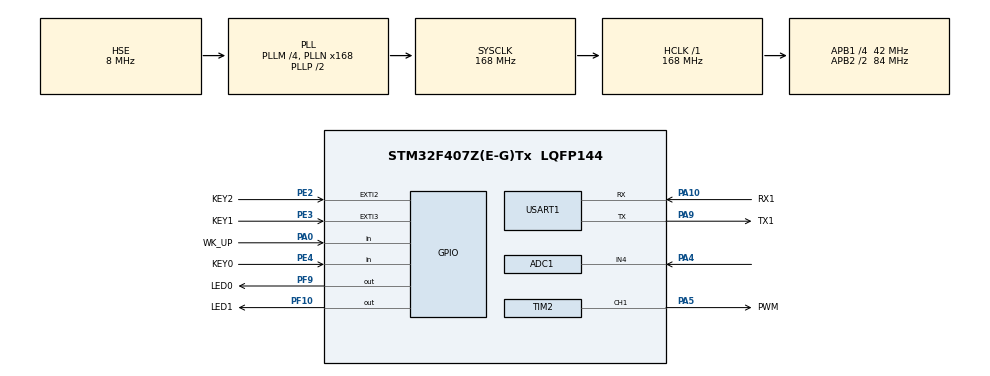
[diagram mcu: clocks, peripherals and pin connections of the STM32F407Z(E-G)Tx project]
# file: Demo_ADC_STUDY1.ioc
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ADC1.Channel-5\#ChannelRegularConversion=ADC_CHANNEL_4
ADC1.ClockPrescaler=ADC_CLOCK_SYNC_PCLK_DIV6
ADC1.ContinuousConvMode=ENABLE
ADC1.NbrOfConversionFlag=1
ADC1.Rank-5\#ChannelRegularConversion=1
ADC1.SamplingTime-5\#ChannelRegularConversion=ADC_SAMPLETIME_3CYCLES
ADC1.master=1
Mcu.Family=STM32F4
Mcu.Name=STM32F407Z(E-G)Tx
Mcu.Package=LQFP144
NVIC.ADC_IRQn=true\:0\:0\:false\:false\:true\:true\:true\:true
NVIC.EXTI2_IRQn=true\:0\:0\:false\:false\:true\:true\:true\:true
NVIC.EXTI3_IRQn=true\:0\:0\:false\:false\:true\:true\:true\:true
NVIC.PriorityGroup=NVIC_PRIORITYGROUP_4
NVIC.TIM2_IRQn=true\:0\:0\:false\:false\:true\:true\:true\:true
NVIC.USART1_IRQn=true\:0\:0\:false\:false\:true\:true\:true\:true
PA0-WKUP.GPIO_Label=WK_UP
PA0-WKUP.GPIO_PuPd=GPIO_PULLDOWN
PA0-WKUP.Signal=GPIO_Input
PA10.GPIO_Label=RX1
PA10.Mode=Asynchronous
PA10.Signal=USART1_RX
PA13.Mode=Serial_Wire
PA13.Signal=SYS_JTMS-SWDIO
PA14.Mode=Serial_Wire
PA14.Signal=SYS_JTCK-SWCLK
PA4.Signal=ADCx_IN4
PA5.GPIO_Label=PWM
PA5.GPIO_PuPd=GPIO_PULLUP
PA5.Signal=S_TIM2_CH1_ETR
PA9.GPIO_Label=TX1
PA9.GPIO_PuPd=GPIO_NOPULL
PA9.Mode=Asynchronous
PA9.Signal=USART1_TX
PC14-OSC32_IN.Mode=LSE-External-Oscillator
PC14-OSC32_IN.Signal=RCC_OSC32_IN
PC15-OSC32_OUT.Mode=LSE-External-Oscillator
PC15-OSC32_OUT.Signal=RCC_OSC32_OUT
PE2.GPIO_Label=KEY2
PE2.GPIO_ModeDefaultEXTI=GPIO_MODE_IT_FALLING
PE2.GPIO_PuPd=GPIO_PULLUP
PE2.Signal=GPXTI2
PE3.GPIO_Label=KEY1
PE3.GPIO_ModeDefaultEXTI=GPIO_MODE_IT_FALLING
PE3.GPIO_PuPd=GPIO_PULLUP
PE3.Signal=GPXTI3
PE4.GPIO_Label=KEY0
PE4.GPIO_PuPd=GPIO_PULLUP
PE4.Signal=GPIO_Input
PF10.GPIO_Label=LED1
PF10.GPIO_PuPd=GPIO_PULLDOWN
PF10.GPIO_Speed=GPIO_SPEED_FREQ_HIGH
PF10.PinState=GPIO_PIN_SET
PF10.Signal=GPIO_Output
PF9.GPIO_Label=LED0
PF9.GPIO_PuPd=GPIO_PULLDOWN
PF9.GPIO_Speed=GPIO_SPEED_FREQ_HIGH
PF9.PinState=GPIO_PIN_SET
PF9.Signal=GPIO_Output
PH0-OSC_IN.Mode=HSE-External-Oscillator
PH0-OSC_IN.Signal=RCC_OSC_IN
PH1-OSC_OUT.Mode=HSE-External-Oscillator
PH1-OSC_OUT.Signal=RCC_OSC_OUT
ProjectManager.HeapSize=0x200
ProjectManager.StackSize=0x400
ProjectManager.TargetToolchain=MDK-ARM V5.32
RCC.48MHZClocksFreq_Value=84000000
RCC.AHBFreq_Value=168000000
RCC.APB1CLKDivider=RCC_HCLK_DIV4
RCC.APB1Freq_Value=42000000
RCC.APB1TimFreq_Value=84000000
RCC.APB2CLKDivider=RCC_HCLK_DIV2
RCC.APB2Freq_Value=84000000
RCC.APB2TimFreq_Value=168000000
RCC.CortexFreq_Value=168000000
RCC.HCLKFreq_Value=168000000
RCC.HSE_VALUE=8000000
RCC.HSI_VALUE=16000000
RCC.PLLM=4
RCC.PLLN=168
RCC.PLLSourceVirtual=RCC_PLLSOURCE_HSE
RCC.SYSCLKFreq_VALUE=168000000
RCC.SYSCLKSource=RCC_SYSCLKSOURCE_PLLCLK
RCC.VCOOutputFreq_Value=336000000
SH.ADCx_IN4.0=ADC1_IN4,IN4
SH.S_TIM2_CH1_ETR.0=TIM2_CH1,PWM Generation1 CH1
TIM2.AutoReloadPreload=TIM_AUTORELOAD_PRELOAD_ENABLE
TIM2.Channel-PWM\ Generation1\ CH1=TIM_CHANNEL_1
TIM2.OCFastMode_PWM-PWM\ Generation1\ CH1=TIM_OCFAST_ENABLE
TIM2.Period=200-1
TIM2.Prescaler=8400-1
USART1.VirtualMode=VM_ASYNC
VP_TIM2_VS_ClockSourceINT.Mode=Internal
board=custom

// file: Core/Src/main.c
/* USER CODE BEGIN Header */
/**
  ******************************************************************************
  * @file           : main.c
  * @brief          : Main program body
  ******************************************************************************
  * @attention
  *
  * Copyright (c) 2022 STMicroelectronics.
  * All rights reserved.
  *
  * This software is licensed under terms that can be found in the LICENSE file
  * in the root directory of this software component.
  * If no LICENSE file comes with this software, it is provided AS-IS.
  *
  ******************************************************************************
  */
/* USER CODE END Header */
#include "main.h"
#include "adc.h"
#include "tim.h"
#include "usart.h"
#include "gpio.h"

/* USER CODE BEGIN Includes */
#include "stdio.h"
#include "string.h"
#include "stdlib.h"

/* USER CODE END Includes */

/* USER CODE BEGIN PV */
#define MAX_Receive_Num 10
uint8_t RxBuffer[MAX_Receive_Num];
uint8_t *expp1 = "接收数据溢出，请重新发送\r\n";
uint8_t *expp2 = "接收到的数据为：";
uint8_t aRxBuffer;
uint8_t UART1_RX_Cnt;
uint8_t Uart1_Rx_Cnt;
uint8_t UART1_RX_Sta;
uint8_t pwm_compare = 5;

//重定向
int fgetc(FILE *f)
{
    uint8_t ch = 0;
    HAL_UART_Receive(&huart1, &ch, 1, 0xffff);
    return ch;
}
int fputc(int ch, FILE *f)
{
    HAL_UART_Transmit(&huart1, (uint8_t *)&ch, 1, 0xffff);
    return ch;
}

//外部中断回调函数

void HAL_GPIO_EXTI_Callback(uint16_t GPIO_Pin)
{
    if(GPIO_Pin == KEY2_Pin)
    {
        if(pwm_compare == 25)
            pwm_compare = 5;
        else
            pwm_compare += 5;
    }
    else
    {
        if(pwm_compare == 0)
            pwm_compare = 25;
        else
            pwm_compare -= 5;
    }
    __HAL_TIM_SetCompare(&htim2, TIM_CHANNEL_1, pwm_compare);
    printf("当前占空比为：%d\r\n", pwm_compare);

}
//串口1回调函数
//void HAL_UART_RxCpltCallback(UART_HandleTypeDef *huart)
//{
//	UNUSED(huart);
//	if(huart==(&huart1))
//	{
//////		if(UART1_RX_Sta==0)//接收未完成
////		{
//			if(UART1_RX_Cnt>=MAX_Receive_Num-1)//数据溢出
//			{
//				UART1_RX_Cnt=0;
//				memset(RxBuffer,0x00,sizeof(RxBuffer));
//				HAL_UART_Transmit(&huart1,(uint8_t *)expp1,strlen(expp1),0xffff);
//				while(HAL_UART_GetState(&huart1)==HAL_UART_STATE_BUSY_TX);
//			}
//			else//正常接收
//			{
//				RxBuffer[UART1_RX_Cnt++]=aRxBuffer;
//				if((RxBuffer[UART1_RX_Cnt-1]==0x0a)&&(RxBuffer[UART1_RX_Cnt-2]==0x0d))//接收到0x0a与0x0d
//				{
////					UART1_RX_Sta=1;
//					HAL_UART_Transmit(&huart1,(uint8_t *)expp2,strlen(expp2),0xffff);
//					while(HAL_UART_GetState(&huart1)==HAL_UART_STATE_BUSY_TX);
//					HAL_UART_Transmit(&huart1,(uint8_t *)RxBuffer,UART1_RX_Cnt,0xffff);
//					while(HAL_UART_GetState(&huart1)==HAL_UART_STATE_BUSY_TX);
//					UART1_RX_Cnt=0;
////					UART1_RX_Sta=0;
//					memset(RxBuffer,0x00,sizeof(RxBuffer));	//清空数组
//				}
//			}
////		}
////		else//接收完成
////		{
////			HAL_UART_Transmit(&huart1,(uint8_t *)RxBuffer,UART1_RX_Cnt,0xffff);
////			while(HAL_UART_GetState(&huart1)==HAL_UART_STATE_BUSY_TX);
////			UART1_RX_Cnt=0;
////			UART1_RX_Sta=0;
////			memset(RxBuffer,0x00,sizeof(RxBuffer));	//清空数组
////		}
//	}
//	HAL_UART_Receive_IT(&huart1,(uint8_t *)&aRxBuffer,1);
//}

//void HAL_UART_RxCpltCallback(UART_HandleTypeDef *huart)
//{
//	UNUSED(huart);
//	if(huart==(&huart1))//判断是哪个串口
//	{
//		if(UART1_RX_Sta==0)//接收未完成
//		{
//			if(UART1_RX_Cnt>=MAX_Receive_Num-1)//数据溢出
//			{
//				UART1_RX_Cnt=0;
//				memset(RxBuffer,0x00,sizeof(RxBuffer));
//				HAL_UART_Transmit(&huart1,(uint8_t *)expp1,strlen((char *)expp1),0xffff);
//				while(HAL_UART_GetState(&huart1)==HAL_UART_STATE_BUSY_TX);
//			}
//			else//正常接收
//			{
//				RxBuffer[UART1_RX_Cnt++]=aRxBuffer;
//				if((RxBuffer[UART1_RX_Cnt-1]==0x0a)&&(RxBuffer[UART1_RX_Cnt-2]==0x0d))//接收到0x0a与0x0d
//				{
//					UART1_RX_Sta=1;
//				}
//			}
//		}
////		else//接收完成
////		{
////			HAL_UART_Transmit(&huart1,(uint8_t *)expp2,strlen((char *)expp2),0xffff);
////			while(HAL_UART_GetState(&huart1)==HAL_UART_STATE_BUSY_TX);
////			HAL_UART_Transmit(&huart1,(uint8_t *)RxBuffer,UART1_RX_Cnt,0xffff);
////			while(HAL_UART_GetState(&huart1)==HAL_UART_STATE_BUSY_TX);
////			UART1_RX_Cnt=0;
////			UART1_RX_Sta=0;
////			memset(RxBuffer,0x00,sizeof(RxBuffer));	//清空数组
////		}
//	HAL_UART_Receive_IT(&huart1,(uint8_t *)&aRxBuffer,1);//开启接收中断
//	}
//}

void HAL_UART_RxCpltCallback(UART_HandleTypeDef *huart)
{
    UNUSED(huart);
    if(huart == (&huart1)) //判断是哪个串口
    {
        if(UART1_RX_Sta == 0) //接收未完成
        {
            if(UART1_RX_Cnt >= MAX_Receive_Num - 1) //数据溢出
            {
                UART1_RX_Cnt = 0;
                memset(RxBuffer, 0x00, sizeof(RxBuffer));
                HAL_UART_Transmit(&huart1, (uint8_t *)expp1, strlen((char *)expp1), 0xffff);
                while(HAL_UART_GetState(&huart1) == HAL_UART_STATE_BUSY_TX); //等待发送完成
            }
            else//正常接收
            {
                RxBuffer[UART1_RX_Cnt++] = aRxBuffer; //存放接收字符
                if((RxBuffer[UART1_RX_Cnt - 1] == 0x0a) && (RxBuffer[UART1_RX_Cnt - 2] == 0x0d)) //接收到0x0a与0x0d
                {
                    UART1_RX_Sta = 1;
                }
            }
        }
        HAL_UART_Receive_IT(&huart1, (uint8_t *)&aRxBuffer, 1); //开启接收中断
    }
}

//void HAL_UART_RxCpltCallback(UART_HandleTypeDef *huart)
//{
//  /* Prevent unused argument(s) compilation warning */
//  UNUSED(huart);
//  /* NOTE: This function Should not be modified, when the callback is needed,
//           the HAL_UART_TxCpltCallback could be implemented in the user file
//   */
//	if(huart==(&huart1))
//	{
//
//	if(Uart1_Rx_Cnt >= 10)  //溢出判断
//	{
//		Uart1_Rx_Cnt = 0;
//		memset(RxBuffer,0x00,sizeof(RxBuffer));
//		HAL_UART_Transmit(&huart1, (uint8_t *)"数据溢出\r\n", 10,0xFFFF);
//		while(HAL_UART_GetState(&huart1)==HAL_UART_STATE_BUSY_TX);
//
//	}
//	else
//	{
//		RxBuffer[Uart1_Rx_Cnt++] = aRxBuffer;   //接收数据转存
//
//		if((RxBuffer[Uart1_Rx_Cnt-1] == 0x0A)&&(RxBuffer[Uart1_Rx_Cnt-2] == 0x0D)) //判断结束位
//		{
//			HAL_UART_Transmit(&huart1, (uint8_t *)&RxBuffer, Uart1_Rx_Cnt,0xFFFF); //将收到的信息发送出去
//            while(HAL_UART_GetState(&huart1) == HAL_UART_STATE_BUSY_TX);//检测UART发送结束
//			Uart1_Rx_Cnt = 0;
//			memset(RxBuffer,0x00,sizeof(RxBuffer)); //清空数组
//		}
//	}
//
//	HAL_UART_Receive_IT(&huart1, (uint8_t *)&aRxBuffer, 1);   //再开启接收中断
//	}
//}

/* USER CODE END PV */

void SystemClock_Config(void);

/***********************************************************
*@fuction	:main
*@brief		:
*@param		:--
*@return	:void
*@author	:--
*@date		:2022-10-10
***********************************************************/

int main(void)
{
    /* USER CODE BEGIN 1 */
    uint16_t i;
    /* USER CODE END 1 */

    /* MCU Configuration--------------------------------------------------------*/

    /* Reset of all peripherals, Initializes the Flash interface and the Systick. */
    HAL_Init();

    /* Configure the system clock */
    SystemClock_Config();

    /* Initialize all configured peripherals */
    MX_GPIO_Init();
    MX_ADC1_Init();
    MX_TIM2_Init();
    MX_USART1_UART_Init();
    /* USER CODE BEGIN 2 */
    HAL_TIM_PWM_Start(&htim2, TIM_CHANNEL_1);
    HAL_UART_Receive_IT(&huart1, (uint8_t *)&aRxBuffer, 1);
    printf("system is started\r\n");
    /* USER CODE END 2 */

    /* Infinite loop */
    /* USER CODE BEGIN WHILE */
    while(1)
    {
        HAL_GPIO_TogglePin(LED0_GPIO_Port, LED0_Pin);
        HAL_Delay(500);
        if(UART1_RX_Sta == 1) //接收完成
        {
            HAL_UART_Transmit(&huart1, (uint8_t *)expp2, strlen((char *)expp2), 0xffff);
            while(HAL_UART_GetState(&huart1) == HAL_UART_STATE_BUSY_TX);
            HAL_UART_Transmit(&huart1, (uint8_t *)RxBuffer, UART1_RX_Cnt, 0xffff);
            while(HAL_UART_GetState(&huart1) == HAL_UART_STATE_BUSY_TX);
            UART1_RX_Cnt = 0;
            UART1_RX_Sta = 0;
            memset(RxBuffer, 0x00, sizeof(RxBuffer));	//清空数组
        }

        //	if(UART1_RX_Sta)
        //	{
        //		i=(uint16_t)atoi((char *)RxBuffer);
        //		memset(RxBuffer,0,strlen((char *)RxBuffer));
        //		__HAL_TIM_SetCompare(&htim2,TIM_CHANNEL_1,i);
        //		UART1_RX_Cnt=0;
        //		UART1_RX_Sta=0;
        //		printf("当前占空比为：%d\r\n",i);
        //	}
        //	printf("system is ongoing\r\n");
        HAL_Delay(500);

        /* USER CODE END WHILE */

    }
}

void SystemClock_Config(void)
{
    RCC_OscInitTypeDef RCC_OscInitStruct = {0};
    RCC_ClkInitTypeDef RCC_ClkInitStruct = {0};

    /** Configure the main internal regulator output voltage
    */
    __HAL_RCC_PWR_CLK_ENABLE();
    __HAL_PWR_VOLTAGESCALING_CONFIG(PWR_REGULATOR_VOLTAGE_SCALE1);

    /** Initializes the RCC Oscillators according to the specified parameters
    * in the RCC_OscInitTypeDef structure.
    */
    RCC_OscInitStruct.OscillatorType = RCC_OSCILLATORTYPE_HSE;
    RCC_OscInitStruct.HSEState = RCC_HSE_ON;
    RCC_OscInitStruct.PLL.PLLState = RCC_PLL_ON;
    RCC_OscInitStruct.PLL.PLLSource = RCC_PLLSOURCE_HSE;
    RCC_OscInitStruct.PLL.PLLM = 4;
    RCC_OscInitStruct.PLL.PLLN = 168;
    RCC_OscInitStruct.PLL.PLLP = RCC_PLLP_DIV2;
    RCC_OscInitStruct.PLL.PLLQ = 4;
    if (HAL_RCC_OscConfig(&RCC_OscInitStruct) != HAL_OK)
    {
        Error_Handler();
    }

    /** Initializes the CPU, AHB and APB buses clocks
    */
    RCC_ClkInitStruct.ClockType = RCC_CLOCKTYPE_HCLK | RCC_CLOCKTYPE_SYSCLK
                                  | RCC_CLOCKTYPE_PCLK1 | RCC_CLOCKTYPE_PCLK2;
    RCC_ClkInitStruct.SYSCLKSource = RCC_SYSCLKSOURCE_PLLCLK;
    RCC_ClkInitStruct.AHBCLKDivider = RCC_SYSCLK_DIV1;
    RCC_ClkInitStruct.APB1CLKDivider = RCC_HCLK_DIV4;
    RCC_ClkInitStruct.APB2CLKDivider = RCC_HCLK_DIV2;

    if (HAL_RCC_ClockConfig(&RCC_ClkInitStruct, FLASH_LATENCY_5) != HAL_OK)
    {
        Error_Handler();
    }
}

void Error_Handler(void)
{
    __disable_irq();
    while (1)
    {
    }
}
